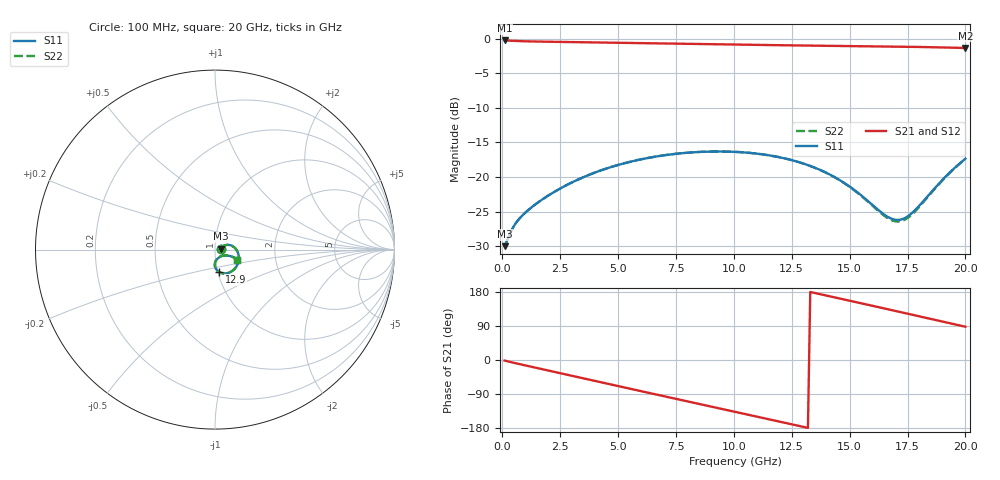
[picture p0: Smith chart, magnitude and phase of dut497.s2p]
! Touchstone file exported from HFSS 2026.1.0
!  File:  C:/ffzhzh/LocalFiles/Ansys_Project_Files/temp_train_TSV_RDL_497_1783106753_46604.aedt
!  Generated:  03:34:51 AM Jul  4, 2026
!  Design:  TSV_RDL
!  Project:  temp_train_TSV_RDL_497_1783106753_46604
! Variables:
!  h_bsmrdl = 2.48um
!  h_ox = 20um
!  h_rdl = 5um
!  h_sub = 81.23um
!  h_tmrdl = 3.18um
!  h_tsv = 81.23um
!  h_via = 3um
!  l_bsmrdl = 373.67um
!  l_sub = 4279.35um
!  l_tmrdl = 664.85um
!  m_sub = 200um
!  pitch = 24.63um
!  r_tsv = 4.82um
!  s_tmrdl = 10um
!  w_bsmrdl = 10.72um
!  w_sub = 500um
!  w_tmrdl = 22.26um
!  x_tsv_center1 = 675.98um
!  x_tsv_center2 = 1060.37um
!  x_tsv_center3 = 1747.48um
!  x_tsv_center4 = 2131.87um
!  x_tsv_center5 = 2818.98um
!  x_tsv_center6 = 3203.37um
# GHz S MA R 50.000000
! Terminal data exported
! Port[1] = TM_RDL1_1_T1
! Port[2] = TM_RDL5_1_T1
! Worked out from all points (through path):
!   200 points, 100 MHz to 20 GHz, reference 50 ohm
!   highest |S21| = -0.28 dB at 100 MHz (marker M1); lowest = -1.4 dB at 20 GHz (marker M2)
!   group delay of S21, straight-line fit = 37.6 ps
!   lowest |S11| = -30.0 dB at 100 MHz (marker M3), VSWR 1.07, Z = 53.2 + j0.541 ohm
!   |S11| at or under -10 dB: start of sweep to end of sweep
!   |S22| runs from -30.0 to -16.3 dB; largest |S21 - S12| = 4.4e-14
!   S11 on the Smith chart (normalised r, x): 100 MHz: 1.06, +0.01; 12.9 GHz: 1.01, -0.26; 20 GHz: 1.27, -0.15
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0.1  0.03176 9.2  0.9688 -1.6  0.9688 -1.6  0.03176 9.2
! Gamma 0 0 0 0
! Port Impedance 50 0 50 0
0.5  0.04434 22.2  0.9611 -7.4  0.9611 -7.4  0.04435 22.2
1.1  0.05749 23.2  0.9542 -15.7  0.9542 -15.7  0.05749 23.2
2.3  0.07923 19.4  0.9467 -32.1  0.9467 -32.1  0.07924 19.4
3.5  0.09986 11.0  0.9401 -48.5  0.9401 -48.5  0.09989 11.0
4.4  0.114 3.1  0.935 -60.7  0.935 -60.7  0.114 3.0
5.2  0.125 -4.6  0.9304 -71.5  0.9304 -71.5  0.1251 -4.7
6  0.1345 -12.6  0.9257 -82.4  0.9257 -82.4  0.1346 -12.7
6.8  0.1422 -20.8  0.9211 -93.1  0.9211 -93.1  0.1423 -20.9
7.6  0.1479 -29.0  0.9165 -103.9  0.9165 -103.9  0.148 -29.1
8.4  0.1516 -37.2  0.9121 -114.7  0.9121 -114.7  0.1517 -37.3
10.1  0.152 -54.1  0.9034 -137.5  0.9034 -137.5  0.1521 -54.3
11.5  0.1438 -67.5  0.897 -156.3  0.897 -156.3  0.1439 -67.8
12.9  0.1269 -79.5  0.8912 -175.1  0.8912 -175.1  0.1269 -79.9
13.4  0.1187 -83.3  0.8893 178.1  0.8893 178.1  0.1186 -83.7
14.2  0.1032 -88.1  0.8863 167.3  0.8863 167.3  0.103 -88.7
15  0.0855 -90.4  0.8833 156.5  0.8833 156.5  0.08512 -91.1
16.7  0.05111 -70.9  0.8763 133.3  0.8763 133.3  0.04997 -71.5
17.2  0.04937 -54.8  0.8738 126.4  0.8738 126.4  0.04806 -54.9
17.6  0.05347 -42.0  0.8717 120.9  0.8717 120.9  0.05217 -41.7
18.8  0.08768 -23.6  0.8643 104.4  0.8643 104.4  0.08677 -22.9
20  0.1359 -25.0  0.8549 87.8  0.8549 87.8  0.1353 -24.5
